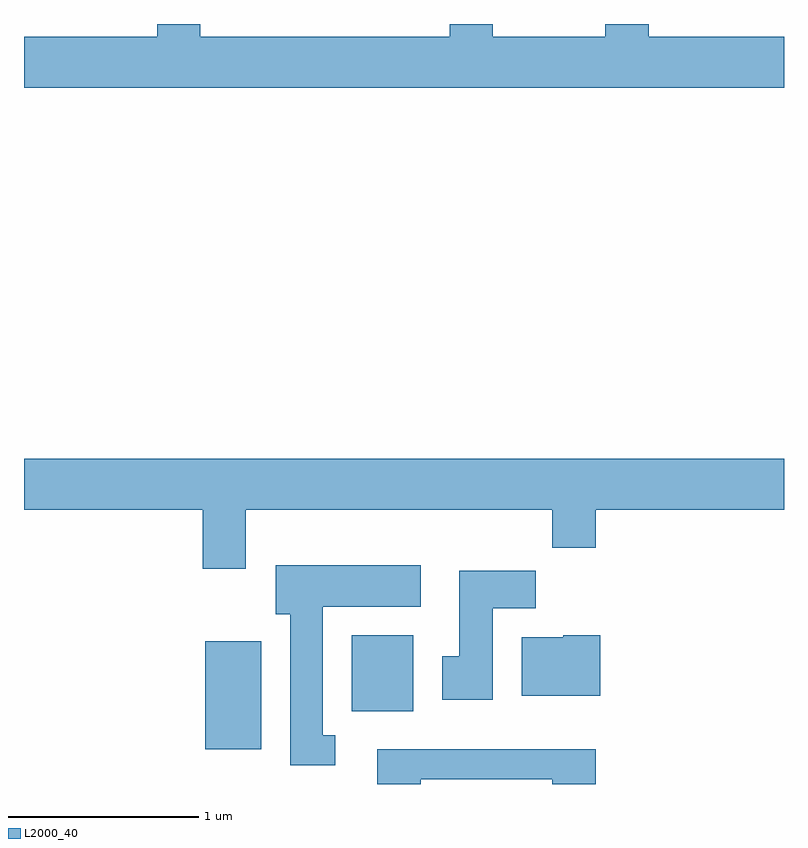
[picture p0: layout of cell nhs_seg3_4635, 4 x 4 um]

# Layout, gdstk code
import gdstk
lib = gdstk.Library(unit=1e-6, precision=1e-09)
def R(c, l, rs):  # rectangles x0, y0, x1, y1
    for r in rs: c.add(gdstk.rectangle(r[:2], r[2:], *l))
def P(c, l, *ps):  # polygons
    for p in ps: c.add(gdstk.Polygon(p, *l))
L2000_40 = (2000, 40)

nhs_seg3_4635 = lib.new_cell('nhs_seg3_4635')
R(nhs_seg3_4635, L2000_40, [(322.566,1138.076,322.859,1138.644), (323.336,1138.276,323.659,1138.674)])
P(nhs_seg3_4635, L2000_40, [(325.611,1141.824),(324.899,1141.824),(324.899,1141.892),(324.671,1141.892),(324.671,1141.824),(324.079,1141.824),(324.079,1141.892),(323.851,1141.892),(323.851,1141.824),(322.539,1141.824),(322.539,1141.892),(322.311,1141.892),(322.311,1141.824),(321.611,1141.824),(321.611,1141.556),(325.611,1141.556)],
  [(322.779,1139.336),(324.391,1139.336),(324.391,1139.136),(324.619,1139.136),(324.619,1139.336),(325.611,1139.336),(325.611,1139.604),(321.611,1139.604),(321.611,1139.336),(322.551,1139.336),(322.551,1139.026),(322.779,1139.026)],
  [(323.248,1138.149),(323.184,1138.149),(323.184,1138.826),(323.699,1138.826),(323.699,1139.044),(322.936,1139.044),(322.936,1138.786),(323.011,1138.786),(323.011,1137.991),(323.248,1137.991)],
  [(324.079,1138.816),(324.304,1138.816),(324.304,1139.014),(323.901,1139.014),(323.901,1138.564),(323.811,1138.564),(323.811,1138.336),(324.079,1138.336)],
  [(324.644,1138.674),(324.45,1138.674),(324.45,1138.664),(324.231,1138.664),(324.231,1138.356),(324.644,1138.356)],
  [(323.699,1137.916),(324.391,1137.916),(324.391,1137.892),(324.619,1137.892),(324.619,1138.074),(323.471,1138.074),(323.471,1137.892),(323.699,1137.892)])

lib.write_gds('nhs_seg3_4635.gds')
